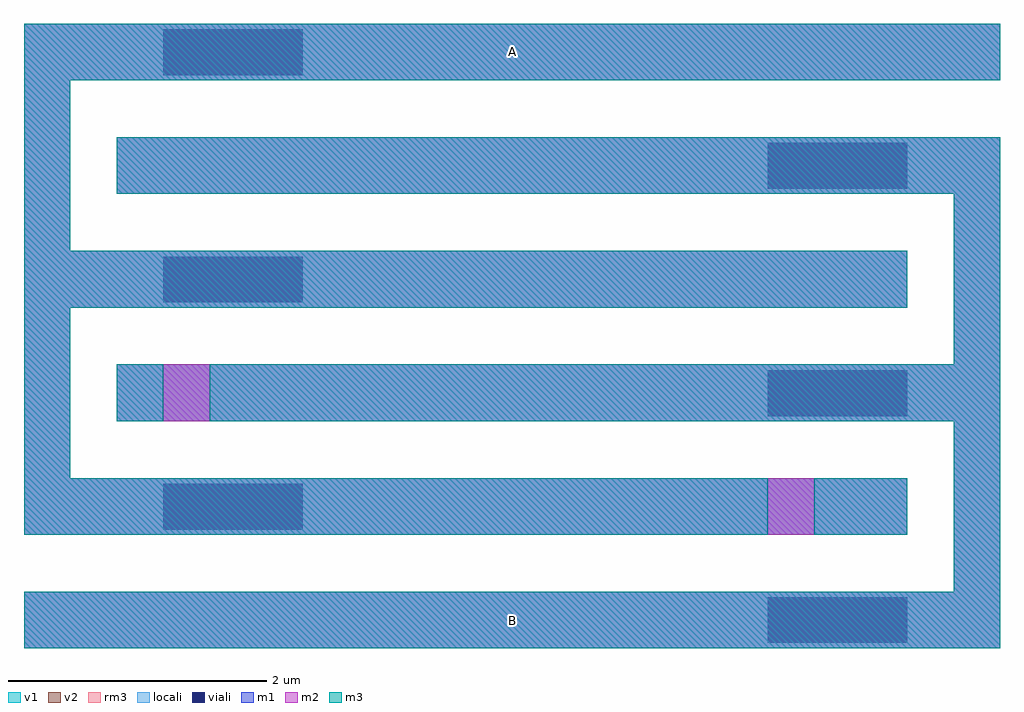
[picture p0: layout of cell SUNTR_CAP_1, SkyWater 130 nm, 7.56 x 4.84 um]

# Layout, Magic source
magic
tech sky130A
magscale 1 2
<< m1 >>
rect 108 -44 1620 44
rect 1548 44 1620 132
rect 108 132 1476 220
rect 1548 132 1620 220
rect 108 220 180 308
rect 1548 220 1620 308
rect 108 308 180 396
rect 252 308 1620 396
rect 108 396 180 484
rect 1548 396 1620 484
rect 108 484 1476 572
rect 1548 484 1620 572
rect 108 572 180 660
rect 1548 572 1620 660
rect 108 660 180 748
rect 252 660 1620 748
rect 108 748 180 836
rect 108 836 1620 924
<< m2 >>
rect 108 -44 1620 44
rect 1548 44 1620 132
rect 108 132 1476 220
rect 1548 132 1620 220
rect 108 220 180 308
rect 1548 220 1620 308
rect 108 308 180 396
rect 252 308 1620 396
rect 108 396 180 484
rect 1548 396 1620 484
rect 108 484 1476 572
rect 1548 484 1620 572
rect 108 572 180 660
rect 1548 572 1620 660
rect 108 660 180 748
rect 252 660 1620 748
rect 108 748 180 836
rect 108 836 1620 924
<< locali >>
rect 108 -44 1620 44
rect 1548 44 1620 132
rect 108 132 1476 220
rect 1548 132 1620 220
rect 108 220 180 308
rect 1548 220 1620 308
rect 108 308 180 396
rect 252 308 1620 396
rect 108 396 180 484
rect 1548 396 1620 484
rect 108 484 1476 572
rect 1548 484 1620 572
rect 108 572 180 660
rect 1548 572 1620 660
rect 108 660 180 748
rect 252 660 1620 748
rect 108 748 180 836
rect 108 836 1620 924
<< v1 >>
rect 1260 -35 1332 -26
rect 1260 -26 1332 -17
rect 1260 -17 1332 -8
rect 1260 -8 1332 0
rect 1260 0 1332 8
rect 1260 8 1332 17
rect 1260 17 1332 26
rect 1260 26 1332 35
rect 1332 -35 1404 -26
rect 1332 -26 1404 -17
rect 1332 -17 1404 -8
rect 1332 -8 1404 0
rect 1332 0 1404 8
rect 1332 8 1404 17
rect 1332 17 1404 26
rect 1332 26 1404 35
rect 1404 -35 1476 -26
rect 1404 -26 1476 -17
rect 1404 -17 1476 -8
rect 1404 -8 1476 0
rect 1404 0 1476 8
rect 1404 8 1476 17
rect 1404 17 1476 26
rect 1404 26 1476 35
rect 324 140 396 149
rect 324 149 396 158
rect 324 158 396 167
rect 324 167 396 176
rect 324 176 396 184
rect 324 184 396 193
rect 324 193 396 202
rect 324 202 396 211
rect 396 140 468 149
rect 396 149 468 158
rect 396 158 468 167
rect 396 167 468 176
rect 396 176 468 184
rect 396 184 468 193
rect 396 193 468 202
rect 396 202 468 211
rect 468 140 540 149
rect 468 149 540 158
rect 468 158 540 167
rect 468 167 540 176
rect 468 176 540 184
rect 468 184 540 193
rect 468 193 540 202
rect 468 202 540 211
rect 1260 316 1332 325
rect 1260 325 1332 334
rect 1260 334 1332 343
rect 1260 343 1332 352
rect 1260 352 1332 360
rect 1260 360 1332 369
rect 1260 369 1332 378
rect 1260 378 1332 387
rect 1332 316 1404 325
rect 1332 325 1404 334
rect 1332 334 1404 343
rect 1332 343 1404 352
rect 1332 352 1404 360
rect 1332 360 1404 369
rect 1332 369 1404 378
rect 1332 378 1404 387
rect 1404 316 1476 325
rect 1404 325 1476 334
rect 1404 334 1476 343
rect 1404 343 1476 352
rect 1404 352 1476 360
rect 1404 360 1476 369
rect 1404 369 1476 378
rect 1404 378 1476 387
rect 324 492 396 501
rect 324 501 396 510
rect 324 510 396 519
rect 324 519 396 528
rect 324 528 396 536
rect 324 536 396 545
rect 324 545 396 554
rect 324 554 396 563
rect 396 492 468 501
rect 396 501 468 510
rect 396 510 468 519
rect 396 519 468 528
rect 396 528 468 536
rect 396 536 468 545
rect 396 545 468 554
rect 396 554 468 563
rect 468 492 540 501
rect 468 501 540 510
rect 468 510 540 519
rect 468 519 540 528
rect 468 528 540 536
rect 468 536 540 545
rect 468 545 540 554
rect 468 554 540 563
rect 1260 668 1332 677
rect 1260 677 1332 686
rect 1260 686 1332 695
rect 1260 695 1332 704
rect 1260 704 1332 712
rect 1260 712 1332 721
rect 1260 721 1332 730
rect 1260 730 1332 739
rect 1332 668 1404 677
rect 1332 677 1404 686
rect 1332 686 1404 695
rect 1332 695 1404 704
rect 1332 704 1404 712
rect 1332 712 1404 721
rect 1332 721 1404 730
rect 1332 730 1404 739
rect 1404 668 1476 677
rect 1404 677 1476 686
rect 1404 686 1476 695
rect 1404 695 1476 704
rect 1404 704 1476 712
rect 1404 712 1476 721
rect 1404 721 1476 730
rect 1404 730 1476 739
rect 324 844 396 853
rect 324 853 396 862
rect 324 862 396 871
rect 324 871 396 880
rect 324 880 396 888
rect 324 888 396 897
rect 324 897 396 906
rect 324 906 396 915
rect 396 844 468 853
rect 396 853 468 862
rect 396 862 468 871
rect 396 871 468 880
rect 396 880 468 888
rect 396 888 468 897
rect 396 897 468 906
rect 396 906 468 915
rect 468 844 540 853
rect 468 853 540 862
rect 468 862 540 871
rect 468 871 540 880
rect 468 880 540 888
rect 468 888 540 897
rect 468 897 540 906
rect 468 906 540 915
<< v2 >>
rect 1260 -35 1332 -26
rect 1260 -26 1332 -17
rect 1260 -17 1332 -8
rect 1260 -8 1332 0
rect 1260 0 1332 8
rect 1260 8 1332 17
rect 1260 17 1332 26
rect 1260 26 1332 35
rect 1332 -35 1404 -26
rect 1332 -26 1404 -17
rect 1332 -17 1404 -8
rect 1332 -8 1404 0
rect 1332 0 1404 8
rect 1332 8 1404 17
rect 1332 17 1404 26
rect 1332 26 1404 35
rect 1404 -35 1476 -26
rect 1404 -26 1476 -17
rect 1404 -17 1476 -8
rect 1404 -8 1476 0
rect 1404 0 1476 8
rect 1404 8 1476 17
rect 1404 17 1476 26
rect 1404 26 1476 35
rect 324 140 396 149
rect 324 149 396 158
rect 324 158 396 167
rect 324 167 396 176
rect 324 176 396 184
rect 324 184 396 193
rect 324 193 396 202
rect 324 202 396 211
rect 396 140 468 149
rect 396 149 468 158
rect 396 158 468 167
rect 396 167 468 176
rect 396 176 468 184
rect 396 184 468 193
rect 396 193 468 202
rect 396 202 468 211
rect 468 140 540 149
rect 468 149 540 158
rect 468 158 540 167
rect 468 167 540 176
rect 468 176 540 184
rect 468 184 540 193
rect 468 193 540 202
rect 468 202 540 211
rect 1260 316 1332 325
rect 1260 325 1332 334
rect 1260 334 1332 343
rect 1260 343 1332 352
rect 1260 352 1332 360
rect 1260 360 1332 369
rect 1260 369 1332 378
rect 1260 378 1332 387
rect 1332 316 1404 325
rect 1332 325 1404 334
rect 1332 334 1404 343
rect 1332 343 1404 352
rect 1332 352 1404 360
rect 1332 360 1404 369
rect 1332 369 1404 378
rect 1332 378 1404 387
rect 1404 316 1476 325
rect 1404 325 1476 334
rect 1404 334 1476 343
rect 1404 343 1476 352
rect 1404 352 1476 360
rect 1404 360 1476 369
rect 1404 369 1476 378
rect 1404 378 1476 387
rect 324 492 396 501
rect 324 501 396 510
rect 324 510 396 519
rect 324 519 396 528
rect 324 528 396 536
rect 324 536 396 545
rect 324 545 396 554
rect 324 554 396 563
rect 396 492 468 501
rect 396 501 468 510
rect 396 510 468 519
rect 396 519 468 528
rect 396 528 468 536
rect 396 536 468 545
rect 396 545 468 554
rect 396 554 468 563
rect 468 492 540 501
rect 468 501 540 510
rect 468 510 540 519
rect 468 519 540 528
rect 468 528 540 536
rect 468 536 540 545
rect 468 545 540 554
rect 468 554 540 563
rect 1260 668 1332 677
rect 1260 677 1332 686
rect 1260 686 1332 695
rect 1260 695 1332 704
rect 1260 704 1332 712
rect 1260 712 1332 721
rect 1260 721 1332 730
rect 1260 730 1332 739
rect 1332 668 1404 677
rect 1332 677 1404 686
rect 1332 686 1404 695
rect 1332 695 1404 704
rect 1332 704 1404 712
rect 1332 712 1404 721
rect 1332 721 1404 730
rect 1332 730 1404 739
rect 1404 668 1476 677
rect 1404 677 1476 686
rect 1404 686 1476 695
rect 1404 695 1476 704
rect 1404 704 1476 712
rect 1404 712 1476 721
rect 1404 721 1476 730
rect 1404 730 1476 739
rect 324 844 396 853
rect 324 853 396 862
rect 324 862 396 871
rect 324 871 396 880
rect 324 880 396 888
rect 324 888 396 897
rect 324 897 396 906
rect 324 906 396 915
rect 396 844 468 853
rect 396 853 468 862
rect 396 862 468 871
rect 396 871 468 880
rect 396 880 468 888
rect 396 888 468 897
rect 396 897 468 906
rect 396 906 468 915
rect 468 844 540 853
rect 468 853 540 862
rect 468 862 540 871
rect 468 871 540 880
rect 468 880 540 888
rect 468 888 540 897
rect 468 897 540 906
rect 468 906 540 915
<< viali >>
rect 1260 -35 1332 -26
rect 1260 -26 1332 -17
rect 1260 -17 1332 -8
rect 1260 -8 1332 0
rect 1260 0 1332 8
rect 1260 8 1332 17
rect 1260 17 1332 26
rect 1260 26 1332 35
rect 1332 -35 1404 -26
rect 1332 -26 1404 -17
rect 1332 -17 1404 -8
rect 1332 -8 1404 0
rect 1332 0 1404 8
rect 1332 8 1404 17
rect 1332 17 1404 26
rect 1332 26 1404 35
rect 1404 -35 1476 -26
rect 1404 -26 1476 -17
rect 1404 -17 1476 -8
rect 1404 -8 1476 0
rect 1404 0 1476 8
rect 1404 8 1476 17
rect 1404 17 1476 26
rect 1404 26 1476 35
rect 324 140 396 149
rect 324 149 396 158
rect 324 158 396 167
rect 324 167 396 176
rect 324 176 396 184
rect 324 184 396 193
rect 324 193 396 202
rect 324 202 396 211
rect 396 140 468 149
rect 396 149 468 158
rect 396 158 468 167
rect 396 167 468 176
rect 396 176 468 184
rect 396 184 468 193
rect 396 193 468 202
rect 396 202 468 211
rect 468 140 540 149
rect 468 149 540 158
rect 468 158 540 167
rect 468 167 540 176
rect 468 176 540 184
rect 468 184 540 193
rect 468 193 540 202
rect 468 202 540 211
rect 1260 316 1332 325
rect 1260 325 1332 334
rect 1260 334 1332 343
rect 1260 343 1332 352
rect 1260 352 1332 360
rect 1260 360 1332 369
rect 1260 369 1332 378
rect 1260 378 1332 387
rect 1332 316 1404 325
rect 1332 325 1404 334
rect 1332 334 1404 343
rect 1332 343 1404 352
rect 1332 352 1404 360
rect 1332 360 1404 369
rect 1332 369 1404 378
rect 1332 378 1404 387
rect 1404 316 1476 325
rect 1404 325 1476 334
rect 1404 334 1476 343
rect 1404 343 1476 352
rect 1404 352 1476 360
rect 1404 360 1476 369
rect 1404 369 1476 378
rect 1404 378 1476 387
rect 324 492 396 501
rect 324 501 396 510
rect 324 510 396 519
rect 324 519 396 528
rect 324 528 396 536
rect 324 536 396 545
rect 324 545 396 554
rect 324 554 396 563
rect 396 492 468 501
rect 396 501 468 510
rect 396 510 468 519
rect 396 519 468 528
rect 396 528 468 536
rect 396 536 468 545
rect 396 545 468 554
rect 396 554 468 563
rect 468 492 540 501
rect 468 501 540 510
rect 468 510 540 519
rect 468 519 540 528
rect 468 528 540 536
rect 468 536 540 545
rect 468 545 540 554
rect 468 554 540 563
rect 1260 668 1332 677
rect 1260 677 1332 686
rect 1260 686 1332 695
rect 1260 695 1332 704
rect 1260 704 1332 712
rect 1260 712 1332 721
rect 1260 721 1332 730
rect 1260 730 1332 739
rect 1332 668 1404 677
rect 1332 677 1404 686
rect 1332 686 1404 695
rect 1332 695 1404 704
rect 1332 704 1404 712
rect 1332 712 1404 721
rect 1332 721 1404 730
rect 1332 730 1404 739
rect 1404 668 1476 677
rect 1404 677 1476 686
rect 1404 686 1476 695
rect 1404 695 1476 704
rect 1404 704 1476 712
rect 1404 712 1476 721
rect 1404 721 1476 730
rect 1404 730 1476 739
rect 324 844 396 853
rect 324 853 396 862
rect 324 862 396 871
rect 324 871 396 880
rect 324 880 396 888
rect 324 888 396 897
rect 324 897 396 906
rect 324 906 396 915
rect 396 844 468 853
rect 396 853 468 862
rect 396 862 468 871
rect 396 871 468 880
rect 396 880 468 888
rect 396 888 468 897
rect 396 897 468 906
rect 396 906 468 915
rect 468 844 540 853
rect 468 853 540 862
rect 468 862 540 871
rect 468 871 540 880
rect 468 880 540 888
rect 468 888 540 897
rect 468 897 540 906
rect 468 906 540 915
<< m3 >>
rect 108 -44 1620 44
rect 108 -44 1620 44
rect 1548 44 1620 132
rect 108 132 1260 220
rect 1332 132 1476 220
rect 1548 132 1620 220
rect 108 220 180 308
rect 1548 220 1620 308
rect 108 308 180 396
rect 252 308 324 396
rect 396 308 1620 396
rect 108 396 180 484
rect 1548 396 1620 484
rect 108 484 1476 572
rect 1548 484 1620 572
rect 108 572 180 660
rect 1548 572 1620 660
rect 108 660 180 748
rect 252 660 1620 748
rect 108 748 180 836
rect 108 836 1620 924
rect 108 836 1620 924
<< rm3 >>
rect 1260 132 1332 220
rect 324 308 396 396
<< labels >>
flabel m3 s 108 -44 1620 44 0 FreeSans 400 0 0 0 B
port 2 nsew
flabel m3 s 108 836 1620 924 0 FreeSans 400 0 0 0 A
port 1 nsew
<< end >>
